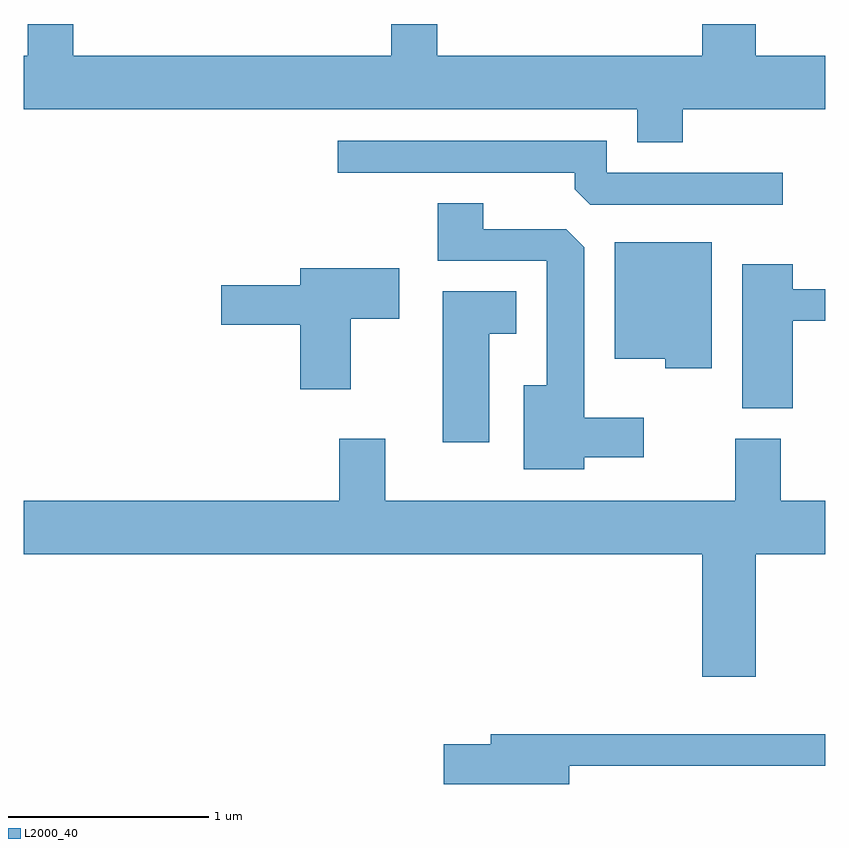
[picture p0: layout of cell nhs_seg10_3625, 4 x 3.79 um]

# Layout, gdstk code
import gdstk
lib = gdstk.Library(unit=1e-6, precision=1e-09)
def P(c, l, *ps):  # polygons
    for p in ps: c.add(gdstk.Polygon(p, *l))
L2000_40 = (2000, 40)

nhs_seg10_3625 = lib.new_cell('nhs_seg10_3625')
P(nhs_seg10_3625, L2000_40, [(294.899,2156.096),(295.611,2156.096),(295.611,2156.364),(295.264,2156.364),(295.264,2156.522),(294.996,2156.522),(294.996,2156.364),(293.674,2156.364),(293.674,2156.522),(293.446,2156.522),(293.446,2156.364),(291.859,2156.364),(291.859,2156.522),(291.631,2156.522),(291.631,2156.364),(291.611,2156.364),(291.611,2156.096),(294.671,2156.096),(294.671,2155.931),(294.899,2155.931)],
  [(293.218,2156.522),(292.011,2156.522),(292.011,2156.521),(293.217,2156.521)],
  [(295.398,2155.779),(294.519,2155.779),(294.519,2155.939),(293.178,2155.939),(293.178,2155.781),(294.361,2155.781),(294.361,2155.697),(294.437,2155.621),(295.398,2155.621)],
  [(294.409,2154.361),(294.704,2154.361),(294.704,2154.559),(294.409,2154.559),(294.409,2155.409),(294.319,2155.499),(293.904,2155.499),(293.904,2155.629),(293.676,2155.629),(293.676,2155.341),(294.221,2155.341),(294.221,2154.719),(294.106,2154.719),(294.106,2154.301),(294.409,2154.301)],
  [(295.044,2155.434),(294.561,2155.434),(294.561,2154.851),(294.811,2154.851),(294.811,2154.806),(295.044,2154.806)],
  [(295.449,2155.041),(295.611,2155.041),(295.611,2155.199),(295.449,2155.199),(295.449,2155.324),(295.196,2155.324),(295.196,2154.606),(295.449,2154.606)],
  [(293.244,2155.051),(293.484,2155.051),(293.484,2155.304),(292.991,2155.304),(292.991,2155.219),(292.596,2155.219),(292.596,2155.021),(292.991,2155.021),(292.991,2154.701),(293.244,2154.701)],
  [(293.934,2154.976),(294.069,2154.976),(294.069,2155.189),(293.701,2155.189),(293.701,2154.436),(293.934,2154.436)],
  [(295.264,2153.876),(295.611,2153.876),(295.611,2154.144),(295.389,2154.144),(295.389,2154.454),(295.161,2154.454),(295.161,2154.144),(293.414,2154.144),(293.414,2154.454),(293.186,2154.454),(293.186,2154.144),(291.611,2154.144),(291.611,2153.876),(294.996,2153.876),(294.996,2153.266),(295.264,2153.266)],
  [(294.334,2152.821),(295.611,2152.821),(295.611,2152.979),(293.941,2152.979),(293.941,2152.929),(293.706,2152.929),(293.706,2152.731),(294.334,2152.731)])

lib.write_gds('nhs_seg10_3625.gds')
